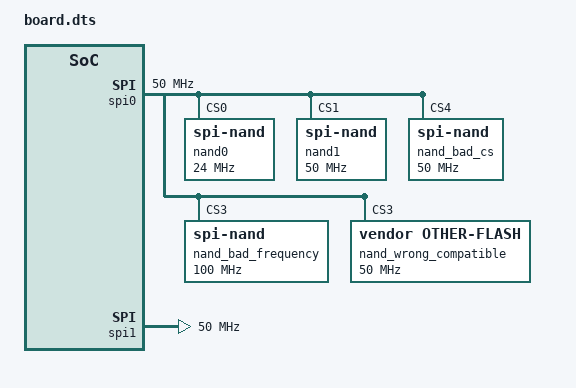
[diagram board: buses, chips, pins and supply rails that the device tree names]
/dts-v1/;

#include <dt-bindings/gpio/sunxi-gpio.h>

/ {
	#address-cells = <1>;
	#size-cells = <1>;

	aliases {
		spi0 = &spi0;
		spi1 = &spi1;
		nand0 = &nand0;
		nand1 = &nand1;
		nand-disabled = &nand_disabled;
		nand-bad-cs = &nand_bad_cs;
		nand-bad-frequency = &nand_bad_frequency;
		nand-wrong-compatible = &nand_wrong_compatible;
	};

	pio: pinctrl@2000000 {
		compatible = "allwinner,sunxi-pinctrl";
		reg = <0x02000000 0x1000>;
		allwinner,bank-base = <SUNXI_GPIO_PORT_A>;
		allwinner,bank-count = <11>;
		#gpio-cells = <3>;
		gpio-controller;

		spi0_pins: spi0-pins {
			allwinner,pins =
				<SUNXI_GPIO_PORT_C 1 4>,
				<SUNXI_GPIO_PORT_C 0 4>,
				<SUNXI_GPIO_PORT_C 2 4>,
				<SUNXI_GPIO_PORT_C 3 4>;
		};

		spi1_pins: spi1-pins {
			allwinner,pins =
				<SUNXI_GPIO_PORT_D 1 5>,
				<SUNXI_GPIO_PORT_D 0 5>,
				<SUNXI_GPIO_PORT_D 2 5>,
				<SUNXI_GPIO_PORT_D 3 5>;
		};
	};

	spi0: spi@1000 {
		compatible = "allwinner,sunxi-spi";
		#address-cells = <1>;
		#size-cells = <0>;
		allwinner,spi-id = <0>;
		reg = <0x1000 0x1000>;
		clock-frequency = <50000000>;
		allwinner,module-clock = <0x3000 1 8 300000000 0>;
		allwinner,clock-gate = <0x3100 6>;
		allwinner,reset = <0x3200 22>;
		pinctrl-names = "default";
		pinctrl-0 = <&spi0_pins>;
		status = "okay";

		nand0: flash@0 {
			compatible = "spi-nand";
			reg = <0>;
			spi-max-frequency = <24000000>;
		};

		nand1: flash@1 {
			compatible = "spi-nand";
			reg = <1>;
			spi-max-frequency = <50000000>;
		};

		nand_disabled: flash@2 {
			compatible = "spi-nand";
			reg = <2>;
			spi-max-frequency = <50000000>;
			status = "disabled";
		};

		nand_bad_cs: flash@4 {
			compatible = "spi-nand";
			reg = <4>;
			spi-max-frequency = <50000000>;
		};

		nand_bad_frequency: flash@3 {
			compatible = "spi-nand";
			reg = <3>;
			spi-max-frequency = <100000001>;
		};

		nand_wrong_compatible: other@3 {
			compatible = "vendor,other-flash";
			reg = <3>;
			spi-max-frequency = <50000000>;
		};
	};

	spi1: spi@2000 {
		compatible = "allwinner,sunxi-spi";
		#address-cells = <1>;
		#size-cells = <0>;
		allwinner,spi-id = <1>;
		reg = <0x2000 0x1000>;
		clock-frequency = <50000000>;
		allwinner,module-clock = <0x4000 1 8 300000000 0>;
		allwinner,clock-gate = <0x4100 7>;
		allwinner,reset = <0x4200 23>;
		pinctrl-names = "default";
		pinctrl-0 = <&spi1_pins>;
		status = "okay";
	};
};
